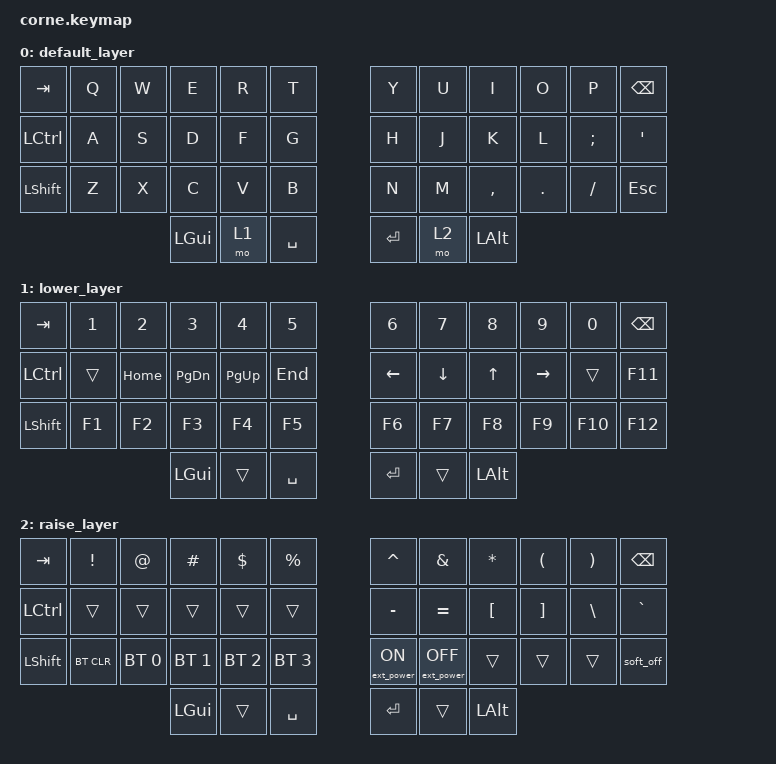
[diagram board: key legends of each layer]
/*
 * Copyright (c) 2020 The ZMK Contributors
 *
 * SPDX-License-Identifier: MIT
 */

#include <behaviors.dtsi>
#include <dt-bindings/zmk/bt.h>
#include <dt-bindings/zmk/ext_power.h>
#include <dt-bindings/zmk/keys.h>
#include <dt-bindings/zmk/pointing.h>

/ {
    combos {
        compatible = "zmk,combos";

        scrl_left {
            bindings = <&msc SCRL_LEFT>;
            key-positions = <22 18>;
            layers = <1>;
        };

        scrl_right {
            bindings = <&msc SCRL_RIGHT>;
            key-positions = <22 21>;
            layers = <1>;
        };

        scrl_down {
            bindings = <&msc SCRL_DOWN>;
            key-positions = <22 19>;
            layers = <1>;
        };

        scrl_up {
            bindings = <&msc SCRL_UP>;
            key-positions = <22 20>;
            layers = <1>;
        };

        vol_down {
            bindings = <&kp C_VOL_DN>;
            key-positions = <19 13>;
            layers = <1>;
        };

        vol_up {
            bindings = <&kp C_VOL_UP>;
            key-positions = <20 13>;
            layers = <1>;
        };

        brigh_up {
            bindings = <&kp C_BRIGHTNESS_INC>;
            key-positions = <13 21>;
            layers = <1>;
        };

        brigh_down {
            bindings = <&kp C_BRIGHTNESS_DEC>;
            key-positions = <13 18>;
            layers = <1>;
        };
    };

    keymap {
        compatible = "zmk,keymap";

        default_layer {
            // -----------------------------------------------------------------------------------------
            // |  TAB |  Q  |  W  |  E  |  R  |  T  |   |  Y  |  U   |  I  |  O  |  P  | BSPC |
            // | CTRL |  A  |  S  |  D  |  F  |  G  |   |  H  |  J   |  K  |  L  |  ;  |  '   |
            // | SHFT |  Z  |  X  |  C  |  V  |  B  |   |  N  |  M   |  ,  |  .  |  /  | ESC  |
            //                    | GUI | LWR | SPC |   | ENT | RSE  | ALT |

            bindings = <
&kp TAB    &kp Q  &kp W  &kp E     &kp R  &kp T        &kp Y    &kp U  &kp I         &kp O    &kp P     &kp BSPC
&kp LCTRL  &kp A  &kp S  &kp D     &kp F  &kp G        &kp H    &kp J  &kp K         &kp L    &kp SEMI  &kp SQT
&kp LSHFT  &kp Z  &kp X  &kp C     &kp V  &kp B        &kp N    &kp M  &kp COMMA     &kp DOT  &kp FSLH  &kp ESC
                         &kp LGUI  &mo 1  &kp SPACE    &kp RET  &mo 2  &kp LEFT_ALT
            >;
        };

        lower_layer {
            // -----------------------------------------------------------------------------------------
            // |  TAB |  1  |  2  |  3  |  4  |  5  |   |  6  |  7  |  8  |  9  |  0  | BSPC |
            // | BTCLR| BT1 | BT2 | BT3 | BT4 | BT5 |   | LFT | DWN |  UP | RGT |     |      |
            // | SHFT |     |     |     |     |     |   |     |     |     |     |     |      |
            //                    | GUI |     | SPC |   | ENT |     | ALT |

            bindings = <
&kp TAB     &kp N1  &kp N2    &kp N3     &kp N4     &kp N5       &kp N6    &kp N7    &kp N8        &kp N9     &kp N0   &kp BSPC
&kp LCTRL   &trans  &kp HOME  &kp PG_DN  &kp PG_UP  &kp END      &kp LEFT  &kp DOWN  &kp UP        &kp RIGHT  &trans   &kp F11
&kp LSHIFT  &kp F1  &kp F2    &kp F3     &kp F4     &kp F5       &kp F6    &kp F7    &kp F8        &kp F9     &kp F10  &kp F12
                              &kp LGUI   &trans     &kp SPACE    &kp RET   &trans    &kp LEFT_ALT
            >;
        };

        raise_layer {
            // -----------------------------------------------------------------------------------------
            // |  TAB |  !  |  @  |  #  |  $  |  %  |   |  ^  |  &  |  *  |  (  |  )  | BSPC |
            // | CTRL |     |     |     |     |     |   |  -  |  =  |  [  |  ]  |  \  |  `   |
            // | SHFT |     |     |     |     |     |   |  _  |  +  |  {  |  }  | "|" |  ~   |
            //                    | GUI |     | SPC |   | ENT |     | ALT |

            bindings = <
&kp TAB    &kp EXCL    &kp AT        &kp HASH      &kp DLLR      &kp PRCNT       &kp CARET         &kp AMPS           &kp ASTRK     &kp LPAR  &kp RPAR  &kp BSPC
&kp LCTRL  &trans      &trans        &trans        &trans        &trans          &kp MINUS         &kp EQUAL          &kp LBKT      &kp RBKT  &kp BSLH  &kp GRAVE
&kp LSHFT  &bt BT_CLR  &bt BT_SEL 0  &bt BT_SEL 1  &bt BT_SEL 2  &bt BT_SEL 3    &ext_power EP_ON  &ext_power EP_OFF  &trans        &trans    &trans    &soft_off
                                     &kp LGUI      &trans        &kp SPACE       &kp RET           &trans             &kp LEFT_ALT
            >;
        };
    };
};
